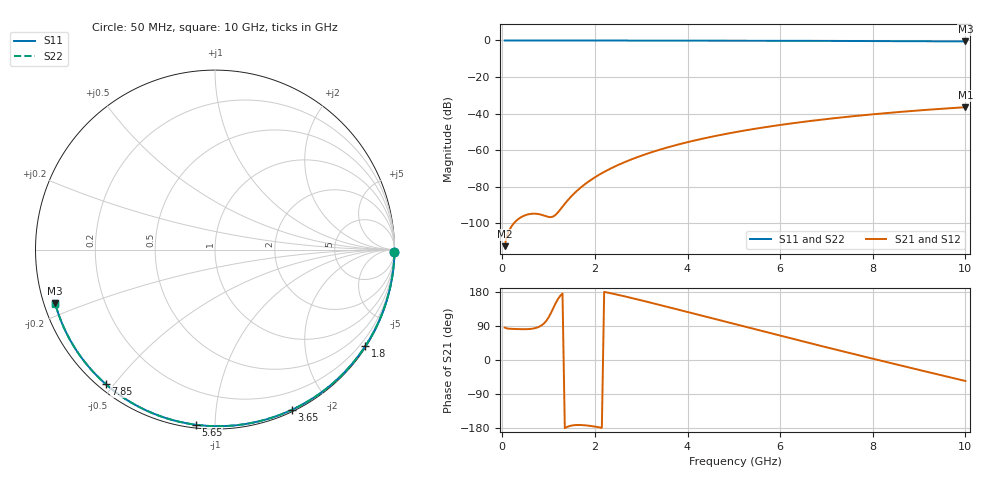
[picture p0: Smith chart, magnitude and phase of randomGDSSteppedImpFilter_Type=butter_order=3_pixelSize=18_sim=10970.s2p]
! freq	dB(S11)	phase(S11)	dB(S12)	phase(S12)
!  dB(S21)	phase(S21)	dB(S22)	phase(S22)
!S-par simulation data
#  GHz  S  DB  R 50
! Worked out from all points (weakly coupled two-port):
!   200 points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, 50 MHz to 10 GHz, reference 50 ohm
!   highest |S21| = -36.51 dB at 10 GHz (marker M1); lowest = -112.5 dB at 50 MHz (marker M2)
!   lowest |S11| = -0.5 dB at 10 GHz (marker M3), VSWR 32.23, Z = 1.59 - j8.16 ohm
!   |S11| at or under -10 dB: nowhere
!   |S22| runs from -0.5 to 0.0 dB; largest |S21 - S12| = 0
!   S11 on the Smith chart (normalised r, x): 50 MHz: open; 1.8 GHz: 0.03, -3.42; 3.65 GHz: 0.02, -1.59; 5.65 GHz: 0.02, -0.90; 7.85 GHz: 0.02, -0.48; 10 GHz: 0.03, -0.16
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0.05  -0.00 -0.9  -112.47 85.6  -112.47 85.6  -0.00 -0.9
0.45  -0.01 -8.3  -96.04 81.3  -96.04 81.3  -0.01 -8.3
0.85  -0.02 -15.6  -95.33 91.6  -95.33 91.6  -0.02 -15.6
1.7  -0.04 -30.8  -80.27 -171.6  -80.27 -171.6  -0.04 -30.8
1.75  -0.04 -31.7  -79.26 -172.0  -79.26 -172.0  -0.04 -31.7
1.8  -0.04 -32.6  -78.29 -172.5  -78.29 -172.5  -0.04 -32.6
2.1  -0.05 -37.9  -73.29 -177.9  -73.29 -177.9  -0.05 -37.9
2.3  -0.05 -41.4  -70.53 177.3  -70.53 177.3  -0.05 -41.4
2.5  -0.06 -44.9  -68.09 172.0  -68.09 172.0  -0.06 -44.9
2.9  -0.07 -51.8  -63.94 160.5  -63.94 160.5  -0.07 -51.7
3.4  -0.08 -60.2  -59.72 145.3  -59.72 145.3  -0.08 -60.2
3.65  -0.09 -64.4  -57.90 137.6  -57.90 137.6  -0.09 -64.4
4.3  -0.11 -75.0  -53.84 117.2  -53.84 117.2  -0.11 -75.0
5.05  -0.13 -87.0  -50.04 93.7  -50.04 93.7  -0.13 -86.9
5.65  -0.16 -96.3  -47.51 75.0  -47.51 75.0  -0.16 -96.2
6.15  -0.19 -103.9  -45.67 59.5  -45.67 59.5  -0.19 -103.8
6.7  -0.22 -112.1  -43.87 42.7  -43.87 42.7  -0.22 -112.1
7.25  -0.26 -120.3  -42.28 26.0  -42.28 26.0  -0.26 -120.2
7.85  -0.31 -129.2  -40.73 7.9  -40.73 7.9  -0.31 -129.1
8.35  -0.35 -136.5  -39.58 -7.0  -39.58 -7.0  -0.35 -136.5
9.2  -0.44 -149.2  -37.87 -32.0  -37.87 -32.0  -0.44 -149.1
10  -0.54 -161.5  -36.51 -55.4  -36.51 -55.4  -0.54 -161.4
